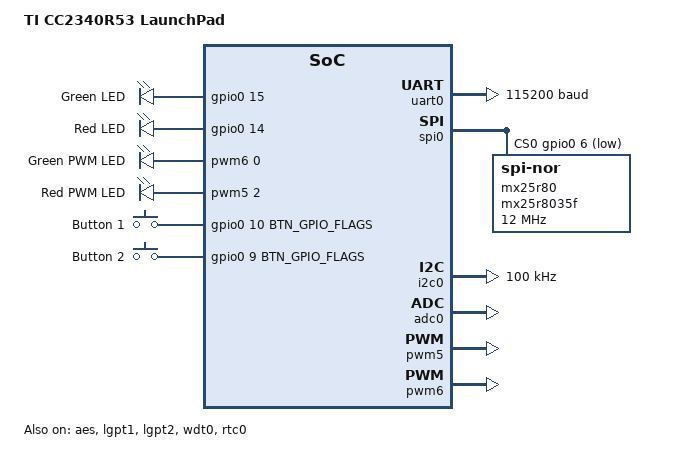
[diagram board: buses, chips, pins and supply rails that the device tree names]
/*
 * Copyright (c) 2024 Texas Instruments Incorporated
 * Copyright (c) 2024 BayLibre, SAS
 *
 * SPDX-License-Identifier: Apache-2.0
 */

/dts-v1/;

#include <ti/cc2340r53.dtsi>
#include "boosterpack_connector.dtsi"
#include "lp_em_cc2340r53-pinctrl.dtsi"
#include <zephyr/dt-bindings/gpio/gpio.h>
#include <zephyr/dt-bindings/pwm/pwm.h>
#include <zephyr/dt-bindings/input/input-event-codes.h>

#define BTN_GPIO_FLAGS (GPIO_ACTIVE_LOW | GPIO_PULL_UP)

/ {
	model = "TI CC2340R53 LaunchPad";
	compatible = "ti,lp_em_cc2340r53";

	chosen {
		zephyr,sram = &sram0;
		zephyr,flash = &flash0;
		zephyr,console = &uart0;
		zephyr,shell-uart = &uart0;
		zephyr,code-partition = &slot0_partition;
		zephyr,uart-mcumgr = &uart0;
	};

	aliases {
		led0 = &led0;
		led1 = &led1;
		sw0 = &btn0;
		sw1 = &btn1;
		pwm-led0 = &pwm_green;
		pwm-led1 = &pwm_red;
		watchdog0 = &wdt0;
		mcuboot-led0 = &led1;
		mcuboot-button0 = &btn1;
	};

	leds {
		compatible = "gpio-leds";
		led0: led_0 {
			gpios = <&gpio0 15 GPIO_ACTIVE_HIGH>;
			label = "Green LED";
		};
		led1: led_1 {
			gpios = <&gpio0 14 GPIO_ACTIVE_HIGH>;
			label = "Red LED";
		};
	};

	pwmleds {
		compatible = "pwm-leds";

		pwm_green: pwm_led_0 {
			pwms = <&pwm6 0 1000 PWM_POLARITY_NORMAL>;
			label = "Green PWM LED";
		};

		pwm_red: pwm_led_1 {
			pwms = <&pwm5 2 1000 PWM_POLARITY_NORMAL>;
			label = "Red PWM LED";
		};
	};

	keys {
		compatible = "gpio-keys";
		btn0: btn_0 {
			gpios = <&gpio0 10 BTN_GPIO_FLAGS>;
			label = "Button 1";
			zephyr,code = <INPUT_KEY_0>;
		};
		btn1: btn_1 {
			gpios = <&gpio0 9 BTN_GPIO_FLAGS>;
			label = "Button 2";
			zephyr,code = <INPUT_KEY_1>;
		};
	};

	lfxosc: lf_xosc {
		compatible = "ti,cc23x0-lf-xosc";
	};
};

/delete-node/ &slot0_partition;

&flash0 {
	partitions {
		/* 40 KiB (0xa000) for MCUboot */
		boot_partition: partition@0 {
			label = "mcuboot";
			reg = <0x00000000 0x0000a000>;
		};

		/* 228 KiB (0x39000) per slot for the application */
		slot0_partition: partition@a000 {
			label = "image-0";
			reg = <0x0000a000 0x00039000>;
		};

		slot1_partition: partition@43000 {
			label = "image-1";
			reg = <0x00043000 0x00039000>;
		};
	};
};

&cpu0 {
	clock-frequency = <48000000>;
};

&gpio0 {
	status = "okay";
};

&uart0 {
	status = "okay";
	current-speed = <115200>;
	pinctrl-0 = <&uart0_rx_default &uart0_tx_default>;
	pinctrl-names = "default";
};

&spi0 {
	status = "okay";
	pinctrl-0 = <&spi0_sck_default
		     &spi0_mosi_default
		     &spi0_miso_default
		     &spi0_cs_default>;
	pinctrl-1 = <&spi0_sck_sleep
		     &spi0_mosi_sleep
		     &spi0_miso_sleep
		     &spi0_cs_sleep>;
	pinctrl-names = "default", "sleep";
	cs-gpios = <&gpio0 6 GPIO_ACTIVE_LOW>;
	mx25r80: mx25r8035f@0 {
		compatible = "jedec,spi-nor";
		reg = <0>;
		spi-max-frequency = <12000000>;
		size = <0x800000>;
		jedec-id = [c2 28 14];
		sfdp-bfp = [
			 e5 20 f1 ff  ff ff 7f 00  44 eb 08 6b  08 3b 04 bb
			 ee ff ff ff  ff ff 00 ff  ff ff 00 ff  0c 20 0f 52
			 10 d8 00 ff  23 72 f5 00  82 ed 04 b7  44 83 38 44
			 30 b0 30 b0  f7 c4 d5 5c  00 be 29 ff  f0 d0 ff ff
		];
	};
};

&i2c0 {
	status = "okay";
	pinctrl-0 = <&i2c0_scl_default
		     &i2c0_sda_default>;
	clock-frequency = <100000>;
	pinctrl-names = "default";
};

&aes {
	status = "okay";
};

&adc0 {
	status = "okay";
	pinctrl-0 = <&adc0_ch0
		     &adc0_ch2
		     &adc0_ch3
		     &adc0_ch4
		     &adc0_ch6
		     &adc0_ch8>;
	pinctrl-names = "default";
};

&dma {
	status = "okay";
};

&lgpt1 {
	clk-prescale = <0>;
	status = "okay";
};

&lgpt2 {
	clk-prescale = <0>;
	status = "okay";
};

&pwm5 {
	pinctrl-0 = <&pwm5_default>;
	pinctrl-names = "default";
	status = "okay";
};

&pwm6 {
	pinctrl-0 = <&pwm6_default>;
	pinctrl-names = "default";
	status = "okay";
};

&wdt0 {
	status = "okay";
};

&rtc0 {
	status = "okay";
};
